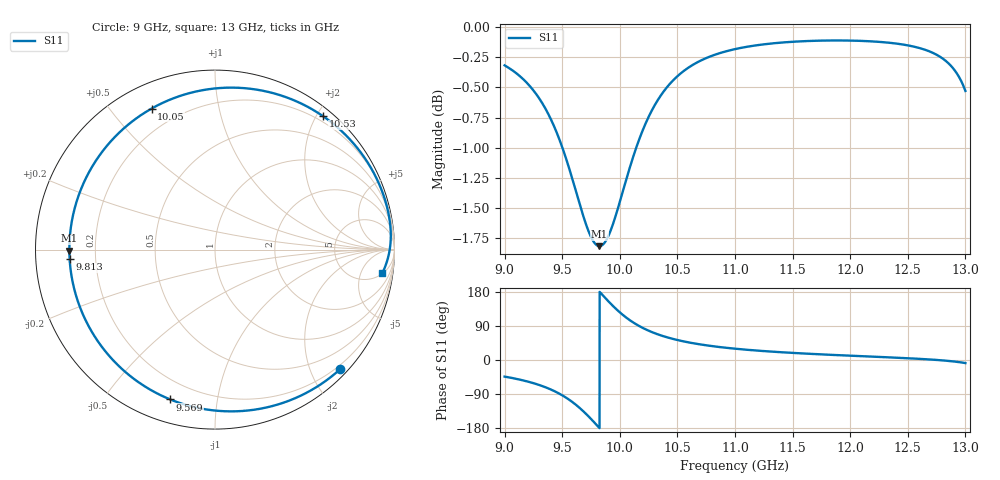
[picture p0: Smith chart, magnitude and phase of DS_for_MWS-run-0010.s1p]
! TOUCHSTONE file generated by CST DESIGN STUDIO
! Date and time: Tue Feb  4 17:14:05 2025
! Project name: C:\Work\MatlabApps\UnitCellOptimizationMatlab\CST\unitcell.cst
! Tree item: Tasks\Sweep1\SPara1\S-Parameters
! Header version: 2024
! Port assignment regex: !\s*Touchstone port\s*([0-9]+)\s*=\s*(CST MWS port|CST DES external port|CST DES block port)\s*(.+)\s* \(\"(.*)\"\)(\s*mode\s*([0-9]+))?.*
! Touchstone port assignment:
! Touchstone port 1 = CST DES external port 1 ("")
# GHz S MA R 50
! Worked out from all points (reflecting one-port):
!   4001 points, 9 GHz to 13 GHz, reference 50 ohm
!   lowest |S11| = -1.8 dB at 9.823 GHz (marker M1), VSWR 9.61, Z = 5.2 - j0.206 ohm
!   phase of S11 starts at -44 deg and turns -324 deg over the sweep
!   S11 on the Smith chart (normalised r, x): 9 GHz: 0.13, -2.48; 9.569 GHz: 0.11, -0.74; 9.813 GHz: 0.10, -0.03; 10.05 GHz: 0.11, +0.64; 10.53 GHz: 0.12, +2.09; 13 GHz: 5, -12
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9  0.9642 -43.8
9.145  0.9531 -52.7
9.277  0.9378 -63.6
9.391  0.9181 -76.5
9.5  0.8919 -93.1
9.569  0.8713 -106.7
9.628  0.8523 -120.4
9.685  0.8346 -135.8
9.753  0.8181 -156.5
9.813  0.8117 -176.2
9.823  0.8115 -179.5
9.862  0.8136 167.5
9.903  0.8199 154.2
9.953  0.8322 138.9
10  0.8465 125.7
10.046  0.8615 114.2
10.143  0.8915 94.0
10.265  0.921 75.4
10.376  0.9398 63.0
10.5  0.9542 52.7
10.526  0.9566 50.9
10.733  0.9701 39.5
11  0.9792 29.8
11.5  0.9861 18.7
12  0.9872 11.4
12.5  0.9827 4.7
12.796  0.971 -0.9
13  0.941 -8.1
